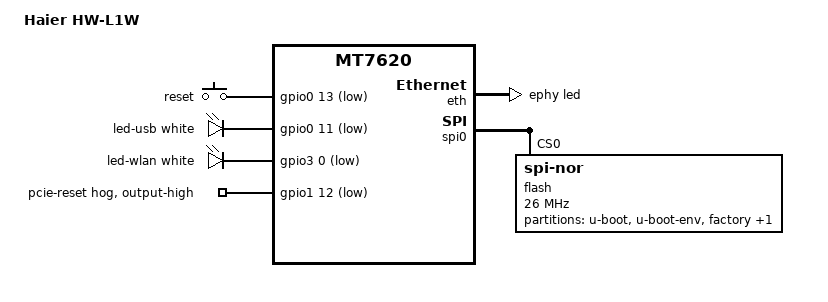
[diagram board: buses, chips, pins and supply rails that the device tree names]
// SPDX-License-Identifier: GPL-2.0-or-later

/dts-v1/;

#include "mt7620.dtsi"

#include <dt-bindings/gpio/gpio.h>
#include <dt-bindings/input/input.h>
#include <dt-bindings/leds/common.h>

/ {
	compatible = "haier,hw-l1w", "mediatek,mt7620-soc";
	model = "Haier HW-L1W";

	/delete-node/ clock-48m;
	/delete-node/ serial@10000500;
	/delete-node/ watchdog@10000120;
	/delete-node/ usb-phy;
	/delete-node/ ehci@101c0000;
	/delete-node/ mmc@10130000;

	aliases {
		serial0 = &uartlite;
		spi0 = &spi0;
	};

	chosen {
		stdout-path = "serial0:115200n8";
	};

	gpio-keys {
		compatible = "gpio-keys";

		button-reset {
			label = "reset";
			linux,code = <KEY_RESTART>;
			gpios = <&gpio0 13 GPIO_ACTIVE_LOW>;
		};
	};

	gpio-leds {
		compatible = "gpio-leds";

		led-usb {
			color = <LED_COLOR_ID_WHITE>;
			function = LED_FUNCTION_USB;
			gpios = <&gpio0 11 GPIO_ACTIVE_LOW>;
			default-state = "on";
		};

		led-wlan {
			color = <LED_COLOR_ID_WHITE>;
			function = LED_FUNCTION_WLAN;
			gpios = <&gpio3 0 GPIO_ACTIVE_LOW>;
			default-state = "off";
		};
	};

	options {
		u-boot {
			compatible = "u-boot,config";
			boot-btn1 = "reset";
			boot-led1 = "white:usb";
			bootcmd_1-1 = "tftp_boot_ik";
			bootcmd_1-2 = "tftp_update_fw";
			bootcmd_1-3 = "switch_console";
			bootcmd_1-4 = "env init";
		};
	};
};

&eth {
	pinctrl-names = "default";
	pinctrl-0 = <&ephy_leds>;
};

&gpio1 {
	pcie-reset {
		gpio-hog;
		gpios = <12 GPIO_ACTIVE_LOW>;
		output-high;
	};
};

&pinctrl {
	pinctrl-0 = <&state_default>, <&sd_pins>;

	/delete-node/ nand_pins;
	/delete-node/ spi_dual_pins;
	/delete-node/ uartf_pins;
	/delete-node/ uartf_pcm_pins;
	/delete-node/ uartf_i2s_pins;
	/delete-node/ uartf_gpio_pins;

	ephy_leds: ephy_leds {
		groups = "ephy led";
		function = "led";
	};
};

&spi0 {
	flash@0 {
		compatible = "jedec,spi-nor";
		reg = <0>;
		spi-max-frequency = <26000000>;

		partitions {
			compatible = "fixed-partitions";
			#address-cells = <1>;
			#size-cells = <1>;

			partition@0 {
				label = "u-boot";
				reg = <0x00000 0x30000>;
			};

			partition@30000 {
				label = "u-boot-env";
				reg = <0x30000 0x10000>;
			};

			partition@40000 {
				label = "factory";
				reg = <0x40000 0x10000>;
			};

			partition@50000 {
				label = "firmware";
				reg = <0x50000 0x00000>;
			};
		};
	};
};

&state_default {
	gpios {
		groups = "i2c", "uartf", "mdio", "rgmii1", "rgmii2", "perst", \
			 "pa", "wdt rst", "wled";
		function = "gpio";
	};
};
